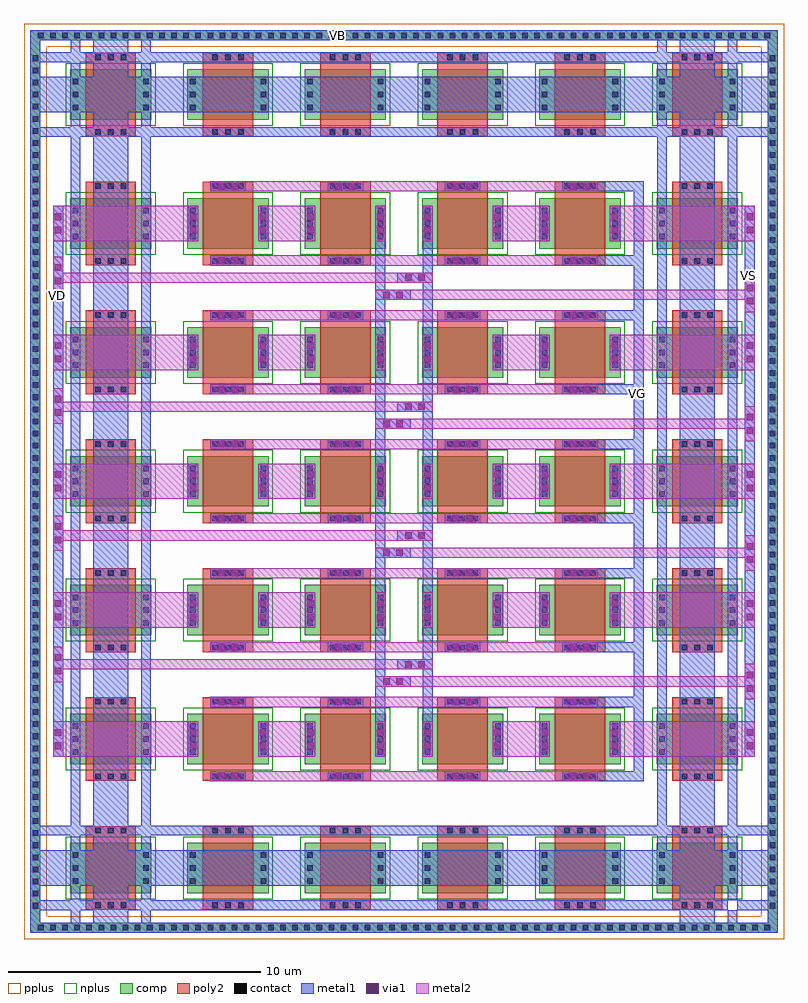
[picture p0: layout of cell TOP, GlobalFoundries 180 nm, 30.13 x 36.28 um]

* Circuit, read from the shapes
.subckt TOP VB VD VG VS
XM1 VB VB VB VB nfet_03v3 w=2u l=2u m=22
XM2 n1 VG VD VB nfet_03v3 w=2u l=2u
XM3 n2 VG VD VB nfet_03v3 w=2u l=2u
XM4 n3 VG VD VB nfet_03v3 w=2u l=2u
XM5 n4 VG VD VB nfet_03v3 w=2u l=2u
XM6 n5 VG VD VB nfet_03v3 w=2u l=2u
XM7 VS VG n1 VB nfet_03v3 w=2u l=2u
XM8 VS VG n2 VB nfet_03v3 w=2u l=2u
XM9 VS VG n3 VB nfet_03v3 w=2u l=2u
XM10 VS VG n4 VB nfet_03v3 w=2u l=2u
XM11 VS VG n5 VB nfet_03v3 w=2u l=2u
XM12 n6 VG VD VB nfet_03v3 w=2u l=2u
XM13 n7 VG VD VB nfet_03v3 w=2u l=2u
XM14 n8 VG VD VB nfet_03v3 w=2u l=2u
XM15 n9 VG VD VB nfet_03v3 w=2u l=2u
XM16 n10 VG VD VB nfet_03v3 w=2u l=2u
XM17 VS VG n6 VB nfet_03v3 w=2u l=2u
XM18 VS VG n7 VB nfet_03v3 w=2u l=2u
XM19 VS VG n8 VB nfet_03v3 w=2u l=2u
XM20 VS VG n9 VB nfet_03v3 w=2u l=2u
XM21 VS VG n10 VB nfet_03v3 w=2u l=2u
.ends

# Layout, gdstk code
from math import pi, radians
import gdstk
lib = gdstk.Library(unit=1e-6, precision=1e-09)
def R(c, l, rs):  # rectangles x0, y0, x1, y1
    for r in rs: c.add(gdstk.rectangle(r[:2], r[2:], *l))
def A(c, l, x, y, w, h, nx, ny, dx, dy):  # array of equal rectangles
    R(c, l, [(x+i*dx, y+j*dy, x+i*dx+w, y+j*dy+h) for i in range(nx) for j in range(ny)])
def P(c, l, *ps):  # polygons
    for p in ps: c.add(gdstk.Polygon(p, *l))
comp = (22, 0)
poly2 = (30, 0)
pplus = (31, 0)
nplus = (32, 0)
contact = (33, 0)
metal1 = (34, 0)
via1 = (35, 0)
metal2 = (36, 0)

via_dev_5 = lib.new_cell('via_dev$5')
R(via_dev_5, comp, [(0,0,34.43,0.4)])
A(via_dev_5, contact, 0.305, 0.09, 0.22, 0.22, 71, 1, 0.48, 0)
R(via_dev_5, metal1, [(0,0,34.43,0.4)])

via_dev_3 = lib.new_cell('via_dev$3')
R(via_dev_3, comp, [(0,0,0.4,29.63)])
A(via_dev_3, contact, 0.09, 0.305, 0.22, 0.22, 1, 61, 0, 0.48)
R(via_dev_3, metal1, [(0,0,0.4,29.63)])

via_dev = lib.new_cell('via_dev')
R(via_dev, metal1, [(0,0,0.4,1.4)])
R(via_dev, via1, [(0.07,0.305,0.33,0.565), (0.07,0.835,0.33,1.095)])
R(via_dev, metal2, [(0,0,0.4,1.4)])

nfet = lib.new_cell('nfet')
R(nfet, comp, [(-0.42,0,0,2), (0,0,2.38,2), (2.38,0,2.8,2)])
R(nfet, poly2, [(0.19,-0.66,2.19,-0.3), (0.19,-0.3,2.19,2.3), (0.19,2.3,2.19,2.66)])
R(nfet, nplus, [(-0.59,-0.24,2.97,2.24)])
A(nfet, contact, 0.57, -0.59, 0.22, 0.22, 3, 2, 0.51, 2.96)
A(nfet, contact, -0.32, 0.38, 0.22, 0.22, 1, 3, 0, 0.51)
A(nfet, contact, 2.48, 0.38, 0.22, 0.22, 1, 3, 0, 0.51)
R(nfet, metal1, [(0.49,-0.67,1.89,-0.29), (-0.4,0.3,-0.02,1.7), (2.4,0.3,2.78,1.7), (0.49,2.29,1.89,2.67)])

top = lib.new_cell('TOP')
R(top, comp, [(-9.85,-29.41,-9.45,-29.095), (19.38,-29.41,19.78,-29.095), (-9.85,5.295,-9.45,5.61), (-9.85,5.295,-9.45,5.61), (19.38,5.295,19.78,5.61)])
P(top, pplus, [(-10.1,-30.035),(-10.1,-29.135),(19.13,-29.135),(19.13,6.245),(20.03,6.245),(20.03,-30.035)],
  [(-10.1,-30.035),(-10.1,6.245),(20.03,6.245),(20.03,5.345),(-9.2,5.345),(-9.2,-30.035)])
R(top, metal1, [(-9.85,-29.41,-9.45,-29.095), (19.38,-29.41,19.78,-29.095), (11.24,-23.775,14.465,-23.375), (-8.95,-22.805,-8.55,-0.965), (3.83,-22.805,4.23,-0.965), (5.7,-22.805,6.1,-0.965), (18.48,-22.805,18.88,-0.965), (11.24,-20.835,14.465,-20.435), (11.24,-15.725,14.465,-15.325), (11.24,-13.555,14.465,-13.155), (11.24,-10.615,14.465,-10.215), (11.24,-8.445,14.465,-8.045), (11.24,-5.505,14.465,-5.105), (11.24,-3.335,14.465,-2.935), (-9.85,5.295,-9.45,5.61), (-9.85,5.295,-9.45,5.61), (19.38,5.295,19.78,5.61)])
P(top, metal1, [(-8.25,-29.785),(-8.25,-28.885),(-9.85,-28.885),(-9.85,-28.505),(-8.25,-28.505),(-8.25,-27.915),(-7.87,-27.915),(-7.87,-28.505),(-7.36,-28.505),(-7.36,-27.915),(-5.96,-27.915),(-5.96,-28.505),(-5.45,-28.505),(-5.45,-27.915),(-5.07,-27.915),(-5.07,-28.505),(15.89,-28.505),(15.89,-27.915),(-9.85,-27.915),(-9.85,-26.515),(-8.25,-26.515),(-8.25,-25.925),(-7.87,-25.925),(-7.87,-26.515),(-7.36,-26.515),(-7.36,-25.925),(-5.96,-25.925),(-5.96,-26.515),(-5.45,-26.515),(-5.45,-25.925),(-5.07,-25.925),(-5.07,-26.515),(15,-26.515),(15,-25.925),(15.38,-25.925),(15.38,-26.515),(15.89,-26.515),(15.89,-25.925),(17.29,-25.925),(17.29,-26.515),(17.8,-26.515),(17.8,-25.925),(-9.85,-25.925),(-9.85,-25.545),(-8.25,-25.545),(-8.25,1.775),(-7.87,1.775),(-7.87,-25.545),(-7.36,-25.545),(-7.36,1.775),(-5.96,1.775),(-5.96,-25.545),(-5.45,-25.545),(-5.45,1.775),(-5.07,1.775),(-5.07,-25.545),(15,-25.545),(15,1.775),(15.38,1.775),(15.38,-25.545),(15.89,-25.545),(15.89,1.775),(17.29,1.775),(17.29,-25.545),(17.8,-25.545),(17.8,1.775),(-9.85,1.775),(-9.85,2.155),(-8.25,2.155),(-8.25,2.745),(-7.87,2.745),(-7.87,2.155),(-7.36,2.155),(-7.36,2.745),(-5.96,2.745),(-5.96,2.155),(-5.45,2.155),(-5.45,2.745),(-5.07,2.745),(-5.07,2.155),(15,2.155),(15,2.745),(15.38,2.745),(15.38,2.155),(15.89,2.155),(15.89,2.745),(17.29,2.745),(17.29,2.155),(17.8,2.155),(17.8,2.745),(-9.85,2.745),(-9.85,4.145),(-8.25,4.145),(-8.25,4.735),(-7.87,4.735),(-7.87,4.145),(-7.36,4.145),(-7.36,4.735),(-5.96,4.735),(-5.96,4.145),(-5.45,4.145),(-5.45,4.735),(-5.07,4.735),(-5.07,4.145),(15,4.145),(15,4.735),(15.38,4.735),(15.38,4.145),(15.89,4.145),(15.89,4.735),(17.29,4.735),(17.29,4.145),(17.8,4.145),(17.8,4.735),(-9.85,4.735),(-9.85,5.115),(-8.25,5.115),(-8.25,5.995),(-7.87,5.995),(-7.87,5.115),(-7.36,5.115),(-7.36,5.995),(-5.96,5.995),(-5.96,5.115),(-5.45,5.115),(-5.45,5.995),(-5.07,5.995),(-5.07,5.115),(15,5.115),(15,5.995),(15.38,5.995),(15.38,5.115),(15.89,5.115),(15.89,5.995),(17.29,5.995),(17.29,5.115),(17.8,5.115),(17.8,5.995),(18.18,5.995),(18.18,5.115),(19.78,5.115),(19.78,4.735),(18.18,4.735),(18.18,4.145),(19.78,4.145),(19.78,2.745),(18.18,2.745),(18.18,2.155),(19.78,2.155),(19.78,1.775),(18.18,1.775),(18.18,-25.545),(19.78,-25.545),(19.78,-25.925),(18.18,-25.925),(18.18,-26.515),(19.78,-26.515),(19.78,-27.915),(18.18,-27.915),(18.18,-29.785),(17.8,-29.785),(17.8,-27.915),(17.29,-27.915),(17.29,-28.505),(19.78,-28.505),(19.78,-28.885),(17.29,-28.885),(17.29,-29.785),(15.89,-29.785),(15.89,-28.885),(-5.07,-28.885),(-5.07,-29.785),(-5.45,-29.785),(-5.45,-28.885),(-5.96,-28.885),(-5.96,-29.785),(-7.36,-29.785),(-7.36,-28.885),(-7.87,-28.885),(-7.87,-29.785)],
  [(14.065,-23.775),(14.065,-18.665),(11.24,-18.665),(11.24,-18.265),(14.065,-18.265),(14.065,-0.395),(11.24,-0.395),(11.24,0.005),(14.465,0.005),(14.465,-23.775)])
A(top, metal2, -8.95, -22.805, 5.75, 1.4, 1, 4, 0, 5.11)
A(top, metal2, -0.82, -22.805, 2.27, 1.4, 1, 5, 0, 5.11)
A(top, metal2, 8.48, -22.805, 2.27, 1.4, 1, 5, 0, 5.11)
A(top, metal2, 13.15, -22.805, 5.73, 1.4, 1, 5, 0, 5.11)
A(top, metal2, 3.83, -20.025, 15.05, 0.4, 1, 4, 0, 5.11)
A(top, metal2, -8.95, -19.345, 15.05, 0.4, 1, 4, 0, 5.11)
R(top, metal2, [(-2.71,-23.775,12.64,-23.375), (-2.71,-20.835,12.64,-20.435), (-2.71,-18.665,12.64,-18.265), (-2.71,-15.725,12.64,-15.325), (-2.71,-13.555,12.64,-13.155), (-2.71,-10.615,12.64,-10.215), (-3.6,-9.125,6.1,-8.725), (-2.71,-8.445,12.64,-8.045), (-8.95,-7.475,-3.2,-6.075), (-2.71,-5.505,12.64,-5.105), (3.83,-4.695,18.88,-4.295), (-3.6,-4.015,6.1,-3.615), (-2.71,-3.335,12.64,-2.935), (-8.95,-2.365,-3.2,-0.965), (-2.71,-0.395,12.64,0.005)])
top.add(gdstk.Reference(via_dev_5, (19.38,5.3), rotation=3*pi/2))
top.add(gdstk.Reference(via_dev_3, (19.78,5.595), rotation=pi/2))
top.add(gdstk.Reference(via_dev, (6.1,-11.185), rotation=pi))
top.add(gdstk.Reference(via_dev, (8.88,-11.185), rotation=pi))
top.add(gdstk.Reference(via_dev, (10.75,-11.185), rotation=pi))
top.add(gdstk.Reference(via_dev, (18.88,-11.185), rotation=pi))
top.add(gdstk.Reference(via_dev, (13.53,-11.185), rotation=pi))
top.add(gdstk.Reference(via_dev, (-8.55,-11.185), rotation=pi))
top.add(gdstk.Reference(via_dev, (-3.2,-11.185), rotation=pi))
top.add(gdstk.Reference(via_dev, (-0.42,-11.185), rotation=pi))
top.add(gdstk.Reference(via_dev, (1.45,-11.185), rotation=pi))
top.add(gdstk.Reference(via_dev, (4.23,-11.185), rotation=pi))
top.add(gdstk.Reference(via_dev, (3.83,-9.405), rotation=3*pi/2))
top.add(gdstk.Reference(via_dev, (4.7,-8.725), rotation=3*pi/2))
top.add(gdstk.Reference(via_dev_5, (-9.85,5.3), rotation=3*pi/2))
top.add(gdstk.Reference(via_dev, (4.7,-3.615), rotation=3*pi/2))
top.add(gdstk.Reference(via_dev, (3.83,-4.295), rotation=3*pi/2))
top.add(gdstk.Reference(via_dev, (4.7,-13.835), rotation=3*pi/2))
top.add(gdstk.Reference(via_dev, (3.83,-14.515), rotation=3*pi/2))
top.add(gdstk.Reference(nfet, (-3.2,-12.885)))
top.add(gdstk.Reference(nfet, (1.45,-12.885)))
top.add(gdstk.Reference(nfet, (-7.85,-12.885)))
top.add(gdstk.Reference(via_dev, (3.83,-19.625), rotation=3*pi/2))
top.add(gdstk.Reference(via_dev, (4.7,-18.945), rotation=3*pi/2))
top.add(gdstk.Reference(nfet, (6.1,-12.885)))
top.add(gdstk.Reference(nfet, (15.4,-12.885)))
top.add(gdstk.Reference(nfet, (10.75,-12.885)))
top.add(gdstk.Reference(via_dev_3, (19.78,-29.785), rotation=pi/2))
top.add(gdstk.Reference(via_dev, (8.88,-6.075), rotation=pi))
top.add(gdstk.Reference(via_dev, (10.75,-6.075), rotation=pi))
top.add(gdstk.Reference(via_dev, (18.88,-6.075), rotation=pi))
top.add(gdstk.Reference(via_dev, (18.475,-10.305)))
top.add(gdstk.Reference(via_dev, (6.59,0.005), rotation=3*pi/2))
top.add(gdstk.Reference(via_dev, (6.59,-2.935), rotation=3*pi/2))
top.add(gdstk.Reference(via_dev, (11.24,0.005), rotation=3*pi/2))
top.add(gdstk.Reference(via_dev, (6.59,-10.215), rotation=3*pi/2))
top.add(gdstk.Reference(via_dev, (11.24,-10.215), rotation=3*pi/2))
top.add(gdstk.Reference(via_dev, (11.24,-2.935), rotation=3*pi/2))
top.add(gdstk.Reference(via_dev, (6.59,-5.105), rotation=3*pi/2))
top.add(gdstk.Reference(via_dev, (11.24,-5.105), rotation=3*pi/2))
top.add(gdstk.Reference(via_dev, (6.59,-8.045), rotation=3*pi/2))
top.add(gdstk.Reference(via_dev, (11.24,-8.045), rotation=3*pi/2))
top.add(gdstk.Reference(nfet, (6.1,-2.665)))
top.add(gdstk.Reference(nfet, (10.75,-2.665)))
top.add(gdstk.Reference(via_dev, (18.48,-5.18)))
top.add(gdstk.Reference(nfet, (6.1,-7.775)))
top.add(gdstk.Reference(nfet, (10.75,-7.775)))
top.add(gdstk.Reference(via_dev, (6.1,-0.965), rotation=pi))
top.add(gdstk.Reference(via_dev, (8.88,-0.965), rotation=pi))
top.add(gdstk.Reference(nfet, (15.4,-2.665)))
top.add(gdstk.Reference(nfet, (15.4,-7.775)))
top.add(gdstk.Reference(nfet, (6.1,2.445)))
top.add(gdstk.Reference(nfet, (10.75,2.445)))
top.add(gdstk.Reference(via_dev, (13.53,-0.965), rotation=pi))
top.add(gdstk.Reference(via_dev, (13.53,-6.075), rotation=pi))
top.add(gdstk.Reference(nfet, (15.4,2.445)))
top.add(gdstk.Reference(via_dev, (10.75,-0.965), rotation=pi))
top.add(gdstk.Reference(via_dev, (18.88,-0.965), rotation=pi))
top.add(gdstk.Reference(via_dev, (6.1,-6.075), rotation=pi))
top.add(gdstk.Reference(via_dev, (1.94,-5.105), rotation=3*pi/2))
top.add(gdstk.Reference(nfet, (-3.2,-2.665)))
top.add(gdstk.Reference(nfet, (1.45,-2.665)))
top.add(gdstk.Reference(via_dev, (-2.71,-8.045), rotation=3*pi/2))
top.add(gdstk.Reference(via_dev, (1.94,-8.045), rotation=3*pi/2))
top.add(gdstk.Reference(via_dev, (-0.42,-6.075), rotation=pi))
top.add(gdstk.Reference(via_dev, (-2.71,-10.215), rotation=3*pi/2))
top.add(gdstk.Reference(via_dev, (1.94,-10.215), rotation=3*pi/2))
top.add(gdstk.Reference(via_dev, (1.45,-6.075), rotation=pi))
top.add(gdstk.Reference(via_dev, (4.23,-6.075), rotation=pi))
top.add(gdstk.Reference(via_dev, (-3.2,-0.965), rotation=pi))
top.add(gdstk.Reference(via_dev, (-3.2,-6.075), rotation=pi))
top.add(gdstk.Reference(via_dev, (-0.42,-0.965), rotation=pi))
top.add(gdstk.Reference(via_dev, (-8.95,-9.6)))
top.add(gdstk.Reference(via_dev, (-2.71,0.005), rotation=3*pi/2))
top.add(gdstk.Reference(via_dev, (-2.71,-2.935), rotation=3*pi/2))
top.add(gdstk.Reference(via_dev, (1.94,0.005), rotation=3*pi/2))
top.add(gdstk.Reference(via_dev, (1.94,-2.935), rotation=3*pi/2))
top.add(gdstk.Reference(via_dev, (1.45,-0.965), rotation=pi))
top.add(gdstk.Reference(via_dev, (-8.95,-4.38)))
top.add(gdstk.Reference(nfet, (-7.85,-2.665)))
top.add(gdstk.Reference(nfet, (-7.85,-7.775)))
top.add(gdstk.Reference(nfet, (-7.85,2.445)))
top.add(gdstk.Reference(nfet, (-3.2,2.445)))
top.add(gdstk.Reference(nfet, (1.45,2.445)))
top.add(gdstk.Reference(via_dev, (4.23,-0.965), rotation=pi))
top.add(gdstk.Reference(nfet, (-3.2,-7.775)))
top.add(gdstk.Reference(via_dev, (-8.55,-0.965), rotation=pi))
top.add(gdstk.Reference(via_dev, (-8.55,-6.075), rotation=pi))
top.add(gdstk.Reference(nfet, (1.45,-7.775)))
top.add(gdstk.Reference(via_dev, (-2.71,-5.105), rotation=3*pi/2))
top.add(gdstk.Reference(via_dev, (-3.2,-16.295), rotation=pi))
top.add(gdstk.Reference(via_dev, (-8.55,-16.295), rotation=pi))
top.add(gdstk.Reference(via_dev, (1.94,-18.265), rotation=3*pi/2))
top.add(gdstk.Reference(via_dev, (-2.71,-18.265), rotation=3*pi/2))
top.add(gdstk.Reference(via_dev, (1.94,-15.325), rotation=3*pi/2))
top.add(gdstk.Reference(via_dev, (-2.71,-15.325), rotation=3*pi/2))
top.add(gdstk.Reference(nfet, (-7.85,-17.995)))
top.add(gdstk.Reference(nfet, (1.45,-17.995)))
top.add(gdstk.Reference(nfet, (-3.2,-17.995)))
top.add(gdstk.Reference(via_dev, (4.23,-16.295), rotation=pi))
top.add(gdstk.Reference(via_dev, (1.45,-16.295), rotation=pi))
top.add(gdstk.Reference(via_dev, (-0.42,-16.295), rotation=pi))
top.add(gdstk.Reference(via_dev, (-3.2,-21.405), rotation=pi))
top.add(gdstk.Reference(via_dev, (-8.55,-21.405), rotation=pi))
top.add(gdstk.Reference(via_dev, (1.94,-23.375), rotation=3*pi/2))
top.add(gdstk.Reference(via_dev, (-2.71,-23.375), rotation=3*pi/2))
top.add(gdstk.Reference(via_dev, (1.94,-20.435), rotation=3*pi/2))
top.add(gdstk.Reference(via_dev, (-2.71,-20.435), rotation=3*pi/2))
top.add(gdstk.Reference(nfet, (-7.85,-23.105)))
top.add(gdstk.Reference(nfet, (1.45,-23.105)))
top.add(gdstk.Reference(nfet, (-3.2,-23.105)))
top.add(gdstk.Reference(via_dev, (4.23,-21.405), rotation=pi))
top.add(gdstk.Reference(via_dev, (1.45,-21.405), rotation=pi))
top.add(gdstk.Reference(via_dev, (-0.42,-21.405), rotation=pi))
top.add(gdstk.Reference(nfet, (-3.2,-28.215)))
top.add(gdstk.Reference(nfet, (1.45,-28.215)))
top.add(gdstk.Reference(via_dev, (-8.95,-19.845)))
top.add(gdstk.Reference(via_dev, (-2.71,-13.155), rotation=3*pi/2))
top.add(gdstk.Reference(via_dev, (1.94,-13.155), rotation=3*pi/2))
top.add(gdstk.Reference(via_dev, (-8.95,-14.65)))
top.add(gdstk.Reference(nfet, (-7.85,-28.215)))
top.add(gdstk.Reference(via_dev, (6.59,-13.155), rotation=3*pi/2))
top.add(gdstk.Reference(via_dev, (11.24,-13.155), rotation=3*pi/2))
top.add(gdstk.Reference(nfet, (6.1,-28.215)))
top.add(gdstk.Reference(nfet, (15.4,-17.995)))
top.add(gdstk.Reference(nfet, (10.75,-17.995)))
top.add(gdstk.Reference(nfet, (15.4,-23.105)))
top.add(gdstk.Reference(nfet, (10.75,-23.105)))
top.add(gdstk.Reference(via_dev, (13.53,-21.405), rotation=pi))
top.add(gdstk.Reference(via_dev, (13.53,-21.405), rotation=pi))
top.add(gdstk.Reference(nfet, (6.1,-23.105)))
top.add(gdstk.Reference(via_dev, (10.75,-21.405), rotation=pi))
top.add(gdstk.Reference(via_dev, (18.88,-21.405), rotation=pi))
top.add(gdstk.Reference(via_dev, (10.75,-21.405), rotation=pi))
top.add(gdstk.Reference(via_dev, (11.24,-23.375), rotation=3*pi/2))
top.add(gdstk.Reference(via_dev, (6.59,-23.375), rotation=3*pi/2))
top.add(gdstk.Reference(via_dev, (8.88,-21.405), rotation=pi))
top.add(gdstk.Reference(via_dev, (6.1,-21.405), rotation=pi))
top.add(gdstk.Reference(via_dev, (11.24,-20.435), rotation=3*pi/2))
top.add(gdstk.Reference(via_dev, (6.59,-20.435), rotation=3*pi/2))
top.add(gdstk.Reference(via_dev, (13.53,-16.295), rotation=pi))
top.add(gdstk.Reference(via_dev, (13.53,-16.295), rotation=pi))
top.add(gdstk.Reference(nfet, (6.1,-17.995)))
top.add(gdstk.Reference(via_dev, (10.75,-16.295), rotation=pi))
top.add(gdstk.Reference(via_dev, (18.88,-16.295), rotation=pi))
top.add(gdstk.Reference(via_dev, (10.75,-16.295), rotation=pi))
top.add(gdstk.Reference(via_dev, (11.24,-18.265), rotation=3*pi/2))
top.add(gdstk.Reference(via_dev, (6.59,-18.265), rotation=3*pi/2))
top.add(gdstk.Reference(via_dev, (8.88,-16.295), rotation=pi))
top.add(gdstk.Reference(via_dev, (6.1,-16.295), rotation=pi))
top.add(gdstk.Reference(via_dev, (11.24,-15.325), rotation=3*pi/2))
top.add(gdstk.Reference(via_dev, (6.59,-15.325), rotation=3*pi/2))
top.add(gdstk.Reference(nfet, (15.4,-28.215)))
top.add(gdstk.Reference(via_dev, (18.48,-20.53)))
top.add(gdstk.Reference(nfet, (10.75,-28.215)))
top.add(gdstk.Reference(via_dev, (18.48,-15.43)))
top.add(gdstk.Label('VG', (14.235,-8.4), layer=34, texttype=10))
top.add(gdstk.Label('VD', (-8.79,-4.515), layer=34, texttype=10))
top.add(gdstk.Label('VS', (18.635,-3.72), layer=34, texttype=10))
top.add(gdstk.Label('VB', (2.33,5.8), layer=34, texttype=10))

lib.write_gds('TOP.gds')
